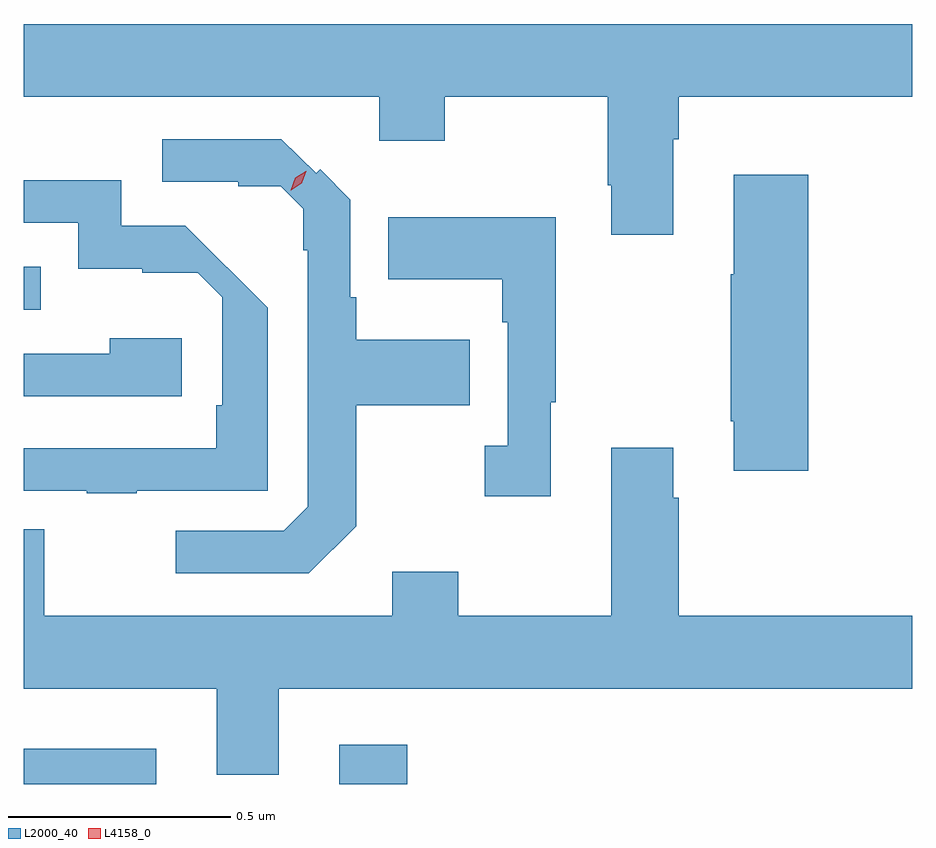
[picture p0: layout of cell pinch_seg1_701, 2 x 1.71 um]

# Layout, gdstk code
import gdstk
lib = gdstk.Library(unit=1e-6, precision=1e-09)
def R(c, l, rs):  # rectangles x0, y0, x1, y1
    for r in rs: c.add(gdstk.rectangle(r[:2], r[2:], *l))
def P(c, l, *ps):  # polygons
    for p in ps: c.add(gdstk.Polygon(p, *l))
L2000_40 = (2000, 40)
L4158_0 = (4158, 0)

pinch_seg1_701 = lib.new_cell('pinch_seg1_701')
R(pinch_seg1_701, L2000_40, [(659.013,546.189,659.311,546.268), (659.723,546.189,659.876,546.277), (659.013,547.257,659.051,547.353)])
P(pinch_seg1_701, L2000_40, [(660.475,547.64),(660.488,547.64),(660.488,547.736),(661.013,547.736),(661.013,547.9),(659.013,547.9),(659.013,547.736),(659.813,547.736),(659.813,547.637),(659.961,547.637),(659.961,547.736),(660.328,547.736),(660.328,547.537),(660.335,547.537),(660.335,547.425),(660.475,547.425)],
  [(659.761,546.769),(659.761,547.042),(660.017,547.042),(660.017,547.189),(659.761,547.189),(659.761,547.285),(659.748,547.285),(659.748,547.504),(659.68,547.573),(659.671,547.564),(659.593,547.641),(659.325,547.641),(659.325,547.545),(659.496,547.545),(659.496,547.535),(659.591,547.535),(659.642,547.484),(659.642,547.391),(659.652,547.391),(659.652,546.813),(659.598,546.759),(659.355,546.759),(659.355,546.663),(659.655,546.663)],
  [(660.779,547.561),(660.611,547.561),(660.611,547.337),(660.604,547.337),(660.604,547.006),(660.611,547.006),(660.611,546.894),(660.779,546.894)],
  [(659.267,546.849),(659.562,546.849),(659.562,547.261),(659.377,547.446),(659.232,547.446),(659.232,547.548),(659.013,547.548),(659.013,547.452),(659.136,547.452),(659.136,547.349),(659.28,547.349),(659.28,547.34),(659.405,547.34),(659.46,547.285),(659.46,547.042),(659.446,547.042),(659.446,546.945),(659.013,546.945),(659.013,546.849),(659.155,546.849),(659.155,546.844),(659.267,546.844)],
  [(660.199,547.049),(660.211,547.049),(660.211,547.465),(659.833,547.465),(659.833,547.325),(660.09,547.325),(660.09,547.229),(660.102,547.229),(660.102,546.95),(660.051,546.95),(660.051,546.837),(660.199,546.837)],
  [(659.368,547.192),(659.207,547.192),(659.207,547.158),(659.013,547.158),(659.013,547.062),(659.368,547.062)],
  [(659.587,546.404),(661.013,546.404),(661.013,546.568),(660.488,546.568),(660.488,546.833),(660.475,546.833),(660.475,546.946),(660.335,546.946),(660.335,546.568),(659.991,546.568),(659.991,546.667),(659.843,546.667),(659.843,546.568),(659.059,546.568),(659.059,546.763),(659.013,546.763),(659.013,546.404),(659.447,546.404),(659.447,546.21),(659.587,546.21)])
P(pinch_seg1_701, L4158_0, [(659.614,547.526),(659.614,547.526),(659.624,547.554),(659.648,547.569),(659.649,547.569),(659.649,547.569),(659.639,547.542),(659.615,547.526)])

lib.write_gds('pinch_seg1_701.gds')
